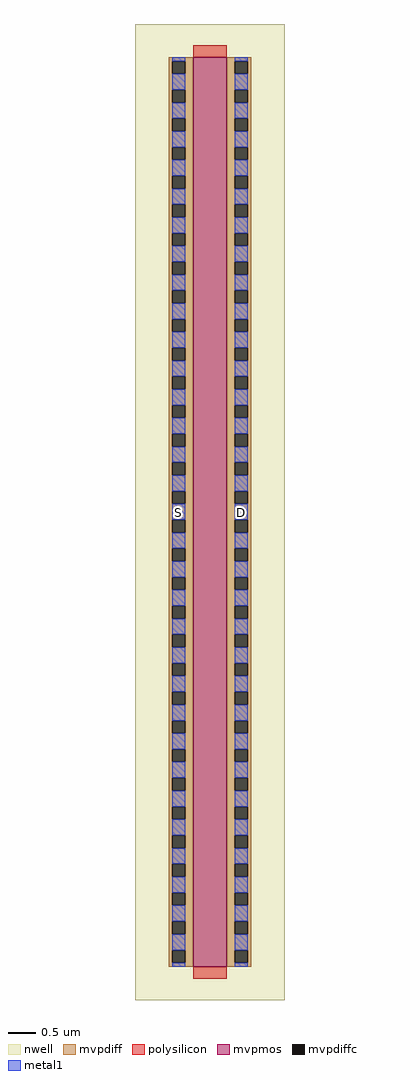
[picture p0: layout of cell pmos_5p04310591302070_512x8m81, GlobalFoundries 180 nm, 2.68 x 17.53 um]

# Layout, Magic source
magic
tech gf180mcuB
magscale 1 10
<< nwell >>
rect -208 -120 328 3386
<< mvpmos >>
rect 0 0 120 3266
<< mvpdiff >>
rect -88 3253 0 3266
rect -88 3207 -75 3253
rect -29 3207 0 3253
rect -88 3150 0 3207
rect -88 3104 -75 3150
rect -29 3104 0 3150
rect -88 3047 0 3104
rect -88 3001 -75 3047
rect -29 3001 0 3047
rect -88 2944 0 3001
rect -88 2898 -75 2944
rect -29 2898 0 2944
rect -88 2841 0 2898
rect -88 2795 -75 2841
rect -29 2795 0 2841
rect -88 2738 0 2795
rect -88 2692 -75 2738
rect -29 2692 0 2738
rect -88 2635 0 2692
rect -88 2589 -75 2635
rect -29 2589 0 2635
rect -88 2532 0 2589
rect -88 2486 -75 2532
rect -29 2486 0 2532
rect -88 2429 0 2486
rect -88 2383 -75 2429
rect -29 2383 0 2429
rect -88 2326 0 2383
rect -88 2280 -75 2326
rect -29 2280 0 2326
rect -88 2223 0 2280
rect -88 2177 -75 2223
rect -29 2177 0 2223
rect -88 2120 0 2177
rect -88 2074 -75 2120
rect -29 2074 0 2120
rect -88 2017 0 2074
rect -88 1971 -75 2017
rect -29 1971 0 2017
rect -88 1914 0 1971
rect -88 1868 -75 1914
rect -29 1868 0 1914
rect -88 1811 0 1868
rect -88 1765 -75 1811
rect -29 1765 0 1811
rect -88 1708 0 1765
rect -88 1662 -75 1708
rect -29 1662 0 1708
rect -88 1605 0 1662
rect -88 1559 -75 1605
rect -29 1559 0 1605
rect -88 1502 0 1559
rect -88 1456 -75 1502
rect -29 1456 0 1502
rect -88 1399 0 1456
rect -88 1353 -75 1399
rect -29 1353 0 1399
rect -88 1296 0 1353
rect -88 1250 -75 1296
rect -29 1250 0 1296
rect -88 1193 0 1250
rect -88 1147 -75 1193
rect -29 1147 0 1193
rect -88 1090 0 1147
rect -88 1044 -75 1090
rect -29 1044 0 1090
rect -88 987 0 1044
rect -88 941 -75 987
rect -29 941 0 987
rect -88 884 0 941
rect -88 838 -75 884
rect -29 838 0 884
rect -88 781 0 838
rect -88 735 -75 781
rect -29 735 0 781
rect -88 678 0 735
rect -88 632 -75 678
rect -29 632 0 678
rect -88 575 0 632
rect -88 529 -75 575
rect -29 529 0 575
rect -88 472 0 529
rect -88 426 -75 472
rect -29 426 0 472
rect -88 369 0 426
rect -88 323 -75 369
rect -29 323 0 369
rect -88 266 0 323
rect -88 220 -75 266
rect -29 220 0 266
rect -88 163 0 220
rect -88 117 -75 163
rect -29 117 0 163
rect -88 59 0 117
rect -88 13 -75 59
rect -29 13 0 59
rect -88 0 0 13
rect 120 3253 208 3266
rect 120 3207 149 3253
rect 195 3207 208 3253
rect 120 3150 208 3207
rect 120 3104 149 3150
rect 195 3104 208 3150
rect 120 3047 208 3104
rect 120 3001 149 3047
rect 195 3001 208 3047
rect 120 2944 208 3001
rect 120 2898 149 2944
rect 195 2898 208 2944
rect 120 2841 208 2898
rect 120 2795 149 2841
rect 195 2795 208 2841
rect 120 2738 208 2795
rect 120 2692 149 2738
rect 195 2692 208 2738
rect 120 2635 208 2692
rect 120 2589 149 2635
rect 195 2589 208 2635
rect 120 2532 208 2589
rect 120 2486 149 2532
rect 195 2486 208 2532
rect 120 2429 208 2486
rect 120 2383 149 2429
rect 195 2383 208 2429
rect 120 2326 208 2383
rect 120 2280 149 2326
rect 195 2280 208 2326
rect 120 2223 208 2280
rect 120 2177 149 2223
rect 195 2177 208 2223
rect 120 2120 208 2177
rect 120 2074 149 2120
rect 195 2074 208 2120
rect 120 2017 208 2074
rect 120 1971 149 2017
rect 195 1971 208 2017
rect 120 1914 208 1971
rect 120 1868 149 1914
rect 195 1868 208 1914
rect 120 1811 208 1868
rect 120 1765 149 1811
rect 195 1765 208 1811
rect 120 1708 208 1765
rect 120 1662 149 1708
rect 195 1662 208 1708
rect 120 1605 208 1662
rect 120 1559 149 1605
rect 195 1559 208 1605
rect 120 1502 208 1559
rect 120 1456 149 1502
rect 195 1456 208 1502
rect 120 1399 208 1456
rect 120 1353 149 1399
rect 195 1353 208 1399
rect 120 1296 208 1353
rect 120 1250 149 1296
rect 195 1250 208 1296
rect 120 1193 208 1250
rect 120 1147 149 1193
rect 195 1147 208 1193
rect 120 1090 208 1147
rect 120 1044 149 1090
rect 195 1044 208 1090
rect 120 987 208 1044
rect 120 941 149 987
rect 195 941 208 987
rect 120 884 208 941
rect 120 838 149 884
rect 195 838 208 884
rect 120 781 208 838
rect 120 735 149 781
rect 195 735 208 781
rect 120 678 208 735
rect 120 632 149 678
rect 195 632 208 678
rect 120 575 208 632
rect 120 529 149 575
rect 195 529 208 575
rect 120 472 208 529
rect 120 426 149 472
rect 195 426 208 472
rect 120 369 208 426
rect 120 323 149 369
rect 195 323 208 369
rect 120 266 208 323
rect 120 220 149 266
rect 195 220 208 266
rect 120 163 208 220
rect 120 117 149 163
rect 195 117 208 163
rect 120 59 208 117
rect 120 13 149 59
rect 195 13 208 59
rect 120 0 208 13
<< mvpdiffc >>
rect -75 3207 -29 3253
rect -75 3104 -29 3150
rect -75 3001 -29 3047
rect -75 2898 -29 2944
rect -75 2795 -29 2841
rect -75 2692 -29 2738
rect -75 2589 -29 2635
rect -75 2486 -29 2532
rect -75 2383 -29 2429
rect -75 2280 -29 2326
rect -75 2177 -29 2223
rect -75 2074 -29 2120
rect -75 1971 -29 2017
rect -75 1868 -29 1914
rect -75 1765 -29 1811
rect -75 1662 -29 1708
rect -75 1559 -29 1605
rect -75 1456 -29 1502
rect -75 1353 -29 1399
rect -75 1250 -29 1296
rect -75 1147 -29 1193
rect -75 1044 -29 1090
rect -75 941 -29 987
rect -75 838 -29 884
rect -75 735 -29 781
rect -75 632 -29 678
rect -75 529 -29 575
rect -75 426 -29 472
rect -75 323 -29 369
rect -75 220 -29 266
rect -75 117 -29 163
rect -75 13 -29 59
rect 149 3207 195 3253
rect 149 3104 195 3150
rect 149 3001 195 3047
rect 149 2898 195 2944
rect 149 2795 195 2841
rect 149 2692 195 2738
rect 149 2589 195 2635
rect 149 2486 195 2532
rect 149 2383 195 2429
rect 149 2280 195 2326
rect 149 2177 195 2223
rect 149 2074 195 2120
rect 149 1971 195 2017
rect 149 1868 195 1914
rect 149 1765 195 1811
rect 149 1662 195 1708
rect 149 1559 195 1605
rect 149 1456 195 1502
rect 149 1353 195 1399
rect 149 1250 195 1296
rect 149 1147 195 1193
rect 149 1044 195 1090
rect 149 941 195 987
rect 149 838 195 884
rect 149 735 195 781
rect 149 632 195 678
rect 149 529 195 575
rect 149 426 195 472
rect 149 323 195 369
rect 149 220 195 266
rect 149 117 195 163
rect 149 13 195 59
<< polysilicon >>
rect 0 3266 120 3310
rect 0 -44 120 0
<< metal1 >>
rect -75 3253 -29 3266
rect -75 3150 -29 3207
rect -75 3047 -29 3104
rect -75 2944 -29 3001
rect -75 2841 -29 2898
rect -75 2738 -29 2795
rect -75 2635 -29 2692
rect -75 2532 -29 2589
rect -75 2429 -29 2486
rect -75 2326 -29 2383
rect -75 2223 -29 2280
rect -75 2120 -29 2177
rect -75 2017 -29 2074
rect -75 1914 -29 1971
rect -75 1811 -29 1868
rect -75 1708 -29 1765
rect -75 1605 -29 1662
rect -75 1502 -29 1559
rect -75 1399 -29 1456
rect -75 1296 -29 1353
rect -75 1193 -29 1250
rect -75 1090 -29 1147
rect -75 987 -29 1044
rect -75 884 -29 941
rect -75 781 -29 838
rect -75 678 -29 735
rect -75 575 -29 632
rect -75 472 -29 529
rect -75 369 -29 426
rect -75 266 -29 323
rect -75 163 -29 220
rect -75 59 -29 117
rect -75 0 -29 13
rect 149 3253 195 3266
rect 149 3150 195 3207
rect 149 3047 195 3104
rect 149 2944 195 3001
rect 149 2841 195 2898
rect 149 2738 195 2795
rect 149 2635 195 2692
rect 149 2532 195 2589
rect 149 2429 195 2486
rect 149 2326 195 2383
rect 149 2223 195 2280
rect 149 2120 195 2177
rect 149 2017 195 2074
rect 149 1914 195 1971
rect 149 1811 195 1868
rect 149 1708 195 1765
rect 149 1605 195 1662
rect 149 1502 195 1559
rect 149 1399 195 1456
rect 149 1296 195 1353
rect 149 1193 195 1250
rect 149 1090 195 1147
rect 149 987 195 1044
rect 149 884 195 941
rect 149 781 195 838
rect 149 678 195 735
rect 149 575 195 632
rect 149 472 195 529
rect 149 369 195 426
rect 149 266 195 323
rect 149 163 195 220
rect 149 59 195 117
rect 149 0 195 13
<< labels >>
flabel metal1 s -52 1633 -52 1633 0 FreeSans 400 0 0 0 S
flabel metal1 s 172 1633 172 1633 0 FreeSans 400 0 0 0 D
<< properties >>
string GDS_END 112708
string GDS_FILE $PDKPATH/libs.ref/gf180mcu_fd_ip_sram/gds/gf180mcu_fd_ip_sram__sram512x8m8wm1.gds
string GDS_START 107652
<< end >>
